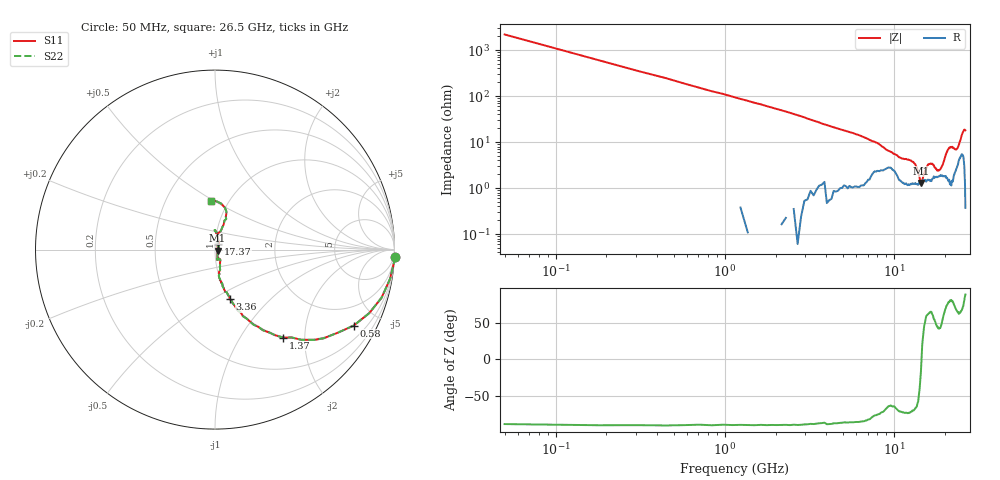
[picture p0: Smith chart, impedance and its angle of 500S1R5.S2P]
!  American Technical Ceramics  Date:  3/6/98
!  One Norden Lane
!  Huntington Station,  NY.  11746-2102
!  Tel:  (516) 547-5700  Fax:  (516) 547-5748
!  Part Number  500S1R5
!  Description: Broadband Microwave capacitor
!  Application:
# GHZ S DB R 50
! Freq  |S11|  S11 Ph  |S21|  S21 Ph  |S12|  S12 Ph  |S22|  S22 Ph
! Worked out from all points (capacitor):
!   201 points, 50 MHz to 26.5 GHz, reference 50 ohm
!   read as one part in series: C = 1.47 pF near 180 MHz
!   lowest |Z| = 1.29 ohm at 14.47 GHz (marker M1)
!   series resonance near 14.58 GHz, so ESL is about 81 pH
!   S11 on the Smith chart (normalised r, x): 50 MHz: -6, -46; 580 MHz: 0.97, -3.67; 1.37 GHz: 0.98, -1.57; 3.36 GHz: 1.00, -0.60; 17.37 GHz: 1.04, +0.07; 26.5 GHz: 0.83, +0.49
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0.05  0.05 -2.4  -26.72 86.2  -26.72 86.2  0.05 -2.4
0.18  -0.10 -9.6  -15.71 80.7  -15.71 80.7  -0.10 -9.6
0.31  -0.30 -16.2  -11.14 74.0  -11.14 74.0  -0.30 -16.2
0.58  -1.10 -28.7  -6.52 61.4  -6.52 61.4  -1.10 -28.7
1.37  -4.13 -52.1  -2.13 37.8  -2.13 37.8  -4.13 -52.1
3.36  -10.84 -73.4  -0.45 15.6  -0.45 15.6  -10.84 -73.4
4.55  -13.37 -77.6  -0.27 10.1  -0.27 10.1  -13.37 -77.6
8.91  -22.43 -68.0  -0.25 3.3  -0.25 3.3  -22.43 -68.0
10.76  -25.97 -73.8  -0.16 2.2  -0.16 2.2  -25.97 -73.8
13.28  -25.64 -74.6  -0.11 0.6  -0.11 0.6  -25.64 -74.6
13.94  -29.80 -65.3  -0.09 0.4  -0.09 0.4  -29.80 -65.3
14.47  -36.30 -21.9  -0.09 0.1  -0.09 0.1  -36.30 -21.9
14.6  -37.02 4.6  -0.10 -0.0  -0.10 -0.0  -37.02 4.6
15.39  -28.62 66.0  -0.13 -0.4  -0.13 -0.4  -28.62 66.0
15.92  -26.02 71.8  -0.14 -0.5  -0.14 -0.5  -26.02 71.8
17.37  -28.27 60.6  -0.13 -0.7  -0.13 -0.7  -28.27 60.6
17.77  -30.16 50.6  -0.13 -0.8  -0.13 -0.8  -30.16 50.6
18.96  -32.61 31.5  -0.15 -1.4  -0.15 -1.4  -32.61 31.5
20.81  -21.55 82.1  -0.23 -2.5  -0.23 -2.5  -21.55 82.1
22.14  -19.20 89.5  -0.34 -2.4  -0.34 -2.4  -19.20 89.5
23.86  -20.38 77.2  -0.43 -1.9  -0.43 -1.9  -20.38 77.2
26.5  -11.32 94.4  -0.80 -4.3  -0.80 -4.3  -11.32 94.4
